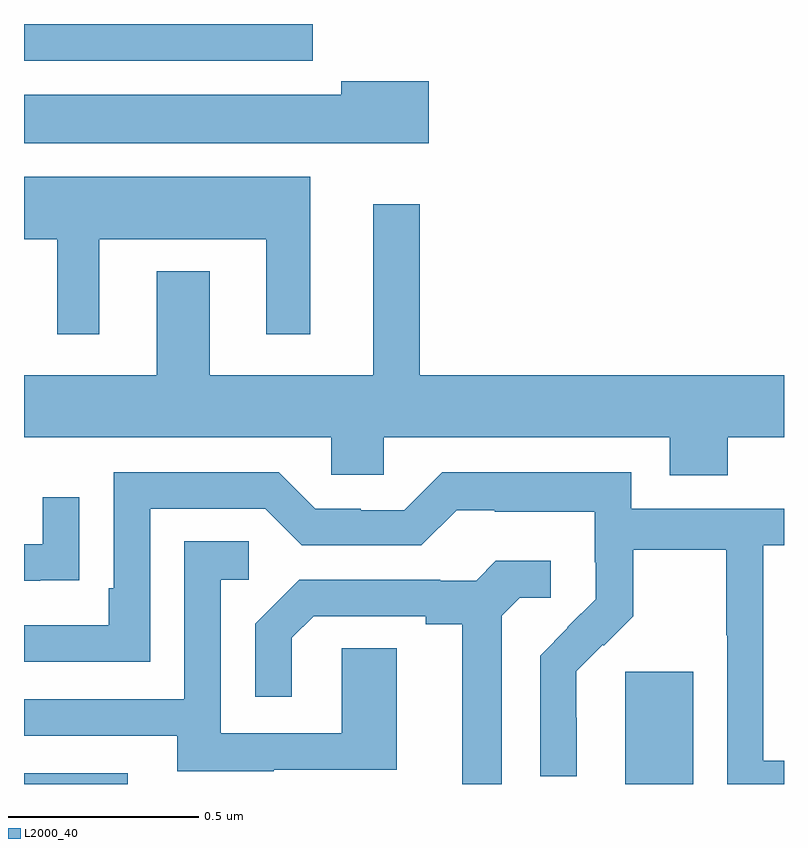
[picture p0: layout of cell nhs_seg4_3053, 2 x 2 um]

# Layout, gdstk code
import gdstk
lib = gdstk.Library(unit=1e-6, precision=1e-09)
def R(c, l, rs):  # rectangles x0, y0, x1, y1
    for r in rs: c.add(gdstk.rectangle(r[:2], r[2:], *l))
def P(c, l, *ps):  # polygons
    for p in ps: c.add(gdstk.Polygon(p, *l))
L2000_40 = (2000, 40)

nhs_seg4_3053 = lib.new_cell('nhs_seg4_3053')
R(nhs_seg4_3053, L2000_40, [(148,803.9,148.273,803.928), (149.582,803.9,149.761,804.195)])
P(nhs_seg4_3053, L2000_40, [(148.76,805.9),(148.607,805.9),(148.607,805.899),(148.159,805.899),(148.159,805.9),(148.019,805.9),(148.019,805.899),(148,805.899),(148,805.803),(148.76,805.803)],
  [(149.065,805.75),(148.835,805.75),(148.835,805.714),(148,805.714),(148,805.586),(149.065,805.586)],
  [(148.198,805.334),(148.637,805.334),(148.637,805.083),(148.753,805.083),(148.753,805.498),(148,805.498),(148,805.334),(148.088,805.334),(148.088,805.083),(148.198,805.083)],
  [(149.852,804.812),(150,804.812),(150,804.976),(149.041,804.976),(149.041,805.426),(148.919,805.426),(148.919,804.976),(148.489,804.976),(148.489,805.249),(148.349,805.249),(148.349,804.976),(148,804.976),(148,804.812),(148.809,804.812),(148.809,804.714),(148.947,804.714),(148.947,804.812),(149.699,804.812),(149.699,804.713),(149.852,804.713)],
  [(150,803.961),(149.946,803.961),(149.946,804.528),(150,804.528),(150,804.624),(149.598,804.624),(149.598,804.721),(149.101,804.721),(149.001,804.621),(148.886,804.621),(148.886,804.624),(148.767,804.624),(148.671,804.72),(148.236,804.72),(148.236,804.415),(148.223,804.415),(148.223,804.318),(148,804.318),(148,804.222),(148.332,804.222),(148.332,804.624),(148.635,804.624),(148.731,804.528),(149.046,804.528),(149.139,804.621),(149.239,804.621),(149.239,804.617),(149.502,804.617),(149.502,804.483),(149.504,804.483),(149.504,804.386),(149.43,804.312),(149.431,804.311),(149.358,804.238),(149.358,803.92),(149.454,803.92),(149.454,804.074),(149.453,804.074),(149.453,804.197),(149.523,804.267),(149.526,804.264),(149.603,804.341),(149.603,804.516),(149.848,804.516),(149.848,804.292),(149.85,804.292),(149.85,803.9),(150,803.9)],
  [(148.043,804.436),(148.145,804.436),(148.145,804.655),(148.049,804.655),(148.049,804.531),(148,804.531),(148,804.435),(148.043,804.435)],
  [(148.657,803.937),(148.981,803.937),(148.981,804.257),(148.836,804.257),(148.836,804.033),(148.518,804.033),(148.518,804.438),(148.591,804.438),(148.591,804.539),(148.422,804.539),(148.422,804.123),(148,804.123),(148,804.027),(148.403,804.027),(148.403,803.933),(148.657,803.933)],
  [(149.257,804.343),(149.304,804.39),(149.386,804.39),(149.386,804.487),(149.242,804.487),(149.19,804.435),(149.096,804.435),(149.096,804.438),(148.724,804.438),(148.608,804.322),(148.608,804.129),(148.705,804.129),(148.705,804.285),(148.762,804.342),(149.057,804.342),(149.057,804.32),(149.153,804.32),(149.153,803.9),(149.257,803.9)])

lib.write_gds('nhs_seg4_3053.gds')
